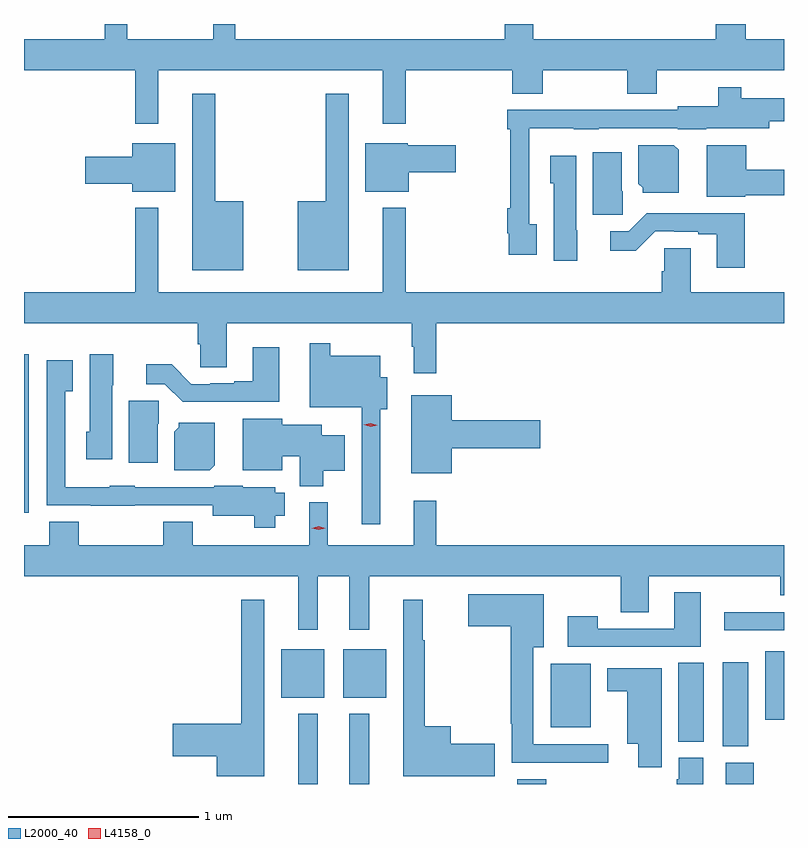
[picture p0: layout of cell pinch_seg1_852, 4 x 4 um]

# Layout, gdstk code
import gdstk
lib = gdstk.Library(unit=1e-6, precision=1e-09)
def R(c, l, rs):  # rectangles x0, y0, x1, y1
    for r in rs: c.add(gdstk.rectangle(r[:2], r[2:], *l))
def P(c, l, *ps):  # polygons
    for p in ps: c.add(gdstk.Polygon(p, *l))
L2000_40 = (2000, 40)
L4158_0 = (4158, 0)

pinch_seg1_852 = lib.new_cell('pinch_seg1_852')
R(pinch_seg1_852, L2000_40, [(482.141,517.339,482.245,517.708), (482.411,517.339,482.515,517.708), (483.293,517.339,483.446,517.363), (484.391,517.339,484.539,517.452), (484.376,517.537,484.51,517.981), (484.142,517.561,484.276,517.976), (483.47,517.637,483.682,517.972), (484.598,517.676,484.698,518.038), (482.051,517.793,482.278,518.047), (482.378,517.793,482.605,518.047), (484.383,518.148,484.698,518.244), (480.698,518.766,480.724,519.601)])
P(pinch_seg1_852, L2000_40, [(481.405,521.096),(482.585,521.096),(482.585,520.815),(482.707,520.815),(482.707,521.096),(483.269,521.096),(483.269,520.972),(483.429,520.972),(483.429,521.096),(483.874,521.096),(483.874,520.972),(484.029,520.972),(484.029,521.096),(484.698,521.096),(484.698,521.26),(484.496,521.26),(484.496,521.339),(484.339,521.339),(484.339,521.26),(483.379,521.26),(483.379,521.339),(483.227,521.339),(483.227,521.26),(481.811,521.26),(481.811,521.339),(481.694,521.339),(481.694,521.26),(481.241,521.26),(481.241,521.339),(481.123,521.339),(481.123,521.26),(480.698,521.26),(480.698,521.096),(481.284,521.096),(481.284,520.815),(481.405,520.815)],
  [(483.397,520.286),(483.357,520.286),(483.357,520.79),(483.591,520.79),(483.591,520.784),(483.723,520.784),(483.723,520.791),(484.14,520.791),(484.14,520.784),(484.29,520.784),(484.29,520.79),(484.621,520.79),(484.621,520.826),(484.698,520.826),(484.698,520.948),(484.474,520.948),(484.474,521.005),(484.353,521.005),(484.353,520.906),(484.14,520.906),(484.14,520.887),(483.723,520.887),(483.723,520.889),(483.491,520.889),(483.491,520.887),(483.241,520.887),(483.241,520.784),(483.256,520.784),(483.256,520.369),(483.241,520.369),(483.241,520.237),(483.249,520.237),(483.249,520.125),(483.397,520.125)],
  [(481.852,520.405),(481.705,520.405),(481.705,520.972),(481.583,520.972),(481.583,520.043),(481.852,520.043)],
  [(482.407,520.972),(482.286,520.972),(482.286,520.405),(482.138,520.405),(482.138,520.043),(482.407,520.043)],
  [(481.495,520.711),(481.268,520.711),(481.268,520.641),(481.02,520.641),(481.02,520.499),(481.268,520.499),(481.268,520.457),(481.495,520.457)],
  [(482.722,520.559),(482.971,520.559),(482.971,520.701),(482.718,520.701),(482.718,520.711),(482.495,520.711),(482.495,520.457),(482.722,520.457)],
  [(484.144,520.676),(484.118,520.702),(483.932,520.702),(483.932,520.498),(483.954,520.476),(483.954,520.451),(484.144,520.451)],
  [(484.494,520.439),(484.698,520.439),(484.698,520.573),(484.498,520.573),(484.498,520.7),(484.292,520.7),(484.292,520.43),(484.494,520.43)],
  [(483.848,520.458),(483.844,520.458),(483.844,520.663),(483.692,520.663),(483.692,520.335),(483.848,520.335)],
  [(483.61,520.254),(483.604,520.254),(483.604,520.645),(483.467,520.645),(483.467,520.5),(483.485,520.5),(483.485,520.092),(483.61,520.092)],
  [(484.698,519.928),(484.207,519.928),(484.207,520.16),(484.068,520.16),(484.068,520.038),(484.055,520.038),(484.055,519.928),(482.707,519.928),(482.707,520.372),(482.585,520.372),(482.585,519.928),(481.405,519.928),(481.405,520.372),(481.284,520.372),(481.284,519.928),(480.698,519.928),(480.698,519.764),(481.613,519.764),(481.613,519.654),(481.626,519.654),(481.626,519.532),(481.765,519.532),(481.765,519.764),(482.739,519.764),(482.739,519.641),(482.75,519.641),(482.75,519.501),(482.867,519.501),(482.867,519.764),(484.698,519.764)],
  [(484.491,520.342),(483.976,520.342),(483.882,520.248),(483.783,520.248),(483.783,520.145),(483.918,520.145),(484.02,520.248),(484.12,520.248),(484.12,520.245),(484.247,520.245),(484.247,520.233),(484.343,520.233),(484.343,520.056),(484.491,520.056)],
  [(482.572,519.311),(482.611,519.311),(482.611,519.481),(482.572,519.481),(482.572,519.592),(482.311,519.592),(482.311,519.658),(482.202,519.658),(482.202,519.323),(482.475,519.323),(482.475,518.706),(482.572,518.706)],
  [(482.041,519.637),(481.901,519.637),(481.901,519.46),(481.805,519.46),(481.805,519.447),(481.678,519.447),(481.678,519.444),(481.578,519.444),(481.476,519.547),(481.341,519.547),(481.341,519.444),(481.44,519.444),(481.534,519.35),(482.041,519.35)],
  [(481.162,519.438),(481.168,519.438),(481.168,519.601),(481.043,519.601),(481.043,519.192),(481.025,519.192),(481.025,519.048),(481.162,519.048)],
  [(482.021,518.75),(482.071,518.75),(482.071,518.872),(482.02,518.872),(482.02,518.902),(481.848,518.902),(481.848,518.908),(481.698,518.908),(481.698,518.901),(481.281,518.901),(481.281,518.908),(481.149,518.908),(481.149,518.902),(480.915,518.902),(480.915,519.407),(480.955,519.407),(480.955,519.568),(480.819,519.568),(480.819,518.805),(481.049,518.805),(481.049,518.804),(481.281,518.804),(481.281,518.805),(481.691,518.805),(481.691,518.75),(481.911,518.75),(481.911,518.687),(482.021,518.687)],
  [(482.95,519.107),(483.415,519.107),(483.415,519.254),(482.95,519.254),(482.95,519.385),(482.735,519.385),(482.735,518.975),(482.95,518.975)],
  [(481.402,519.234),(481.406,519.234),(481.406,519.357),(481.25,519.357),(481.25,519.03),(481.402,519.03)],
  [(482.272,518.987),(482.386,518.987),(482.386,519.175),(482.266,519.175),(482.266,519.229),(482.056,519.229),(482.056,519.262),(481.85,519.262),(481.85,518.99),(482.056,518.99),(482.056,519.065),(482.15,519.065),(482.15,518.906),(482.272,518.906)],
  [(481.702,519.016),(481.702,519.241),(481.512,519.241),(481.512,519.216),(481.49,519.194),(481.49,518.99),(481.676,518.99)],
  [(482.245,518.432),(482.411,518.432),(482.411,518.151),(482.515,518.151),(482.515,518.432),(483.838,518.432),(483.838,518.242),(483.985,518.242),(483.985,518.432),(484.678,518.432),(484.678,518.333),(484.698,518.333),(484.698,518.596),(482.867,518.596),(482.867,518.83),(482.75,518.83),(482.75,518.596),(482.297,518.596),(482.297,518.821),(482.199,518.821),(482.199,518.596),(481.587,518.596),(481.587,518.72),(481.432,518.72),(481.432,518.596),(480.987,518.596),(480.987,518.72),(480.832,518.72),(480.832,518.596),(480.698,518.596),(480.698,518.432),(482.141,518.432),(482.141,518.151),(482.245,518.151)],
  [(484.261,518.347),(484.121,518.347),(484.121,518.157),(483.717,518.157),(483.717,518.221),(483.561,518.221),(483.561,518.061),(484.261,518.061)],
  [(483.772,517.548),(483.379,517.548),(483.379,518.06),(483.433,518.06),(483.433,518.338),(483.036,518.338),(483.036,518.168),(483.259,518.168),(483.259,517.655),(483.266,517.655),(483.266,517.451),(483.772,517.451)],
  [(483.175,517.55),(482.944,517.55),(482.944,517.642),(482.807,517.642),(482.807,518.095),(482.797,518.095),(482.797,518.308),(482.693,518.308),(482.693,517.379),(483.175,517.379)],
  [(481.963,518.308),(481.842,518.308),(481.842,517.655),(481.482,517.655),(481.482,517.484),(481.712,517.484),(481.712,517.379),(481.963,517.379)],
  [(484.054,517.948),(483.767,517.948),(483.767,517.826),(483.872,517.826),(483.872,517.55),(483.932,517.55),(483.932,517.428),(484.054,517.428)],
  [(484.273,517.476),(484.145,517.476),(484.145,517.365),(484.133,517.365),(484.133,517.339),(484.273,517.339)])
P(pinch_seg1_852, L4158_0, [(482.248,518.676),(482.212,518.686),(482.212,518.686),(482.212,518.686),(482.248,518.696),(482.283,518.686),(482.283,518.686),(482.283,518.686)],
  [(482.522,519.219),(482.487,519.23),(482.486,519.23),(482.487,519.23),(482.523,519.239),(482.558,519.228),(482.558,519.228),(482.558,519.227)])

lib.write_gds('pinch_seg1_852.gds')
